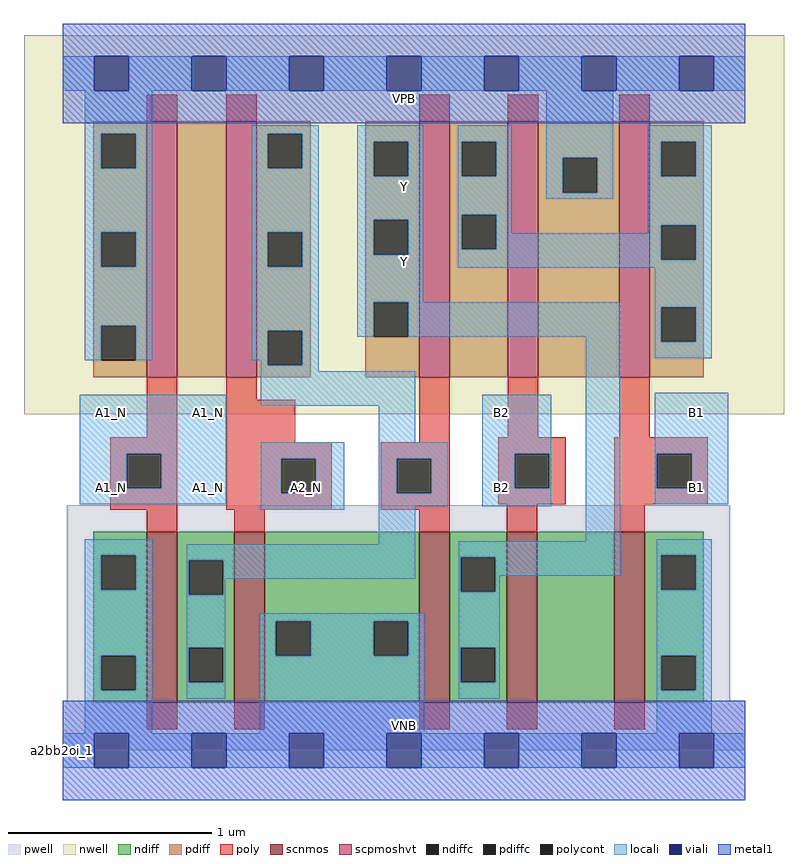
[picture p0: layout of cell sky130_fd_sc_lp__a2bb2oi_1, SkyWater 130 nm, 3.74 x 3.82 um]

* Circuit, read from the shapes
.subckt sky130_fd_sc_lp__a2bb2oi_1 A1_N A2_N B1 B2 VGND VNB VPB VPWR Y
XM1 n1 A1_N VGND VNB sky130_fd_pr__nfet_01v8 w=0.84 l=0.15
XM2 VGND A2_N n1 VNB sky130_fd_pr__nfet_01v8 w=0.84 l=0.15
XM3 Y n1 VGND VNB sky130_fd_pr__nfet_01v8 w=0.84 l=0.15
XM4 n2 B2 Y VNB sky130_fd_pr__nfet_01v8 w=0.84 l=0.15
XM5 VGND B1 n2 VNB sky130_fd_pr__nfet_01v8 w=0.84 l=0.15
XM6 n3 A1_N VPWR VPB sky130_fd_pr__pfet_01v8_hvt w=1.26 l=0.15
XM7 n1 A2_N n3 VPB sky130_fd_pr__pfet_01v8_hvt w=1.26 l=0.15
XM8 n4 n1 Y VPB sky130_fd_pr__pfet_01v8_hvt w=1.26 l=0.15
XM9 VPWR B2 n4 VPB sky130_fd_pr__pfet_01v8_hvt w=1.26 l=0.15
XM10 n4 B1 VPWR VPB sky130_fd_pr__pfet_01v8_hvt w=1.26 l=0.15
.ends

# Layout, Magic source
magic
tech sky130A
magscale 1 2
<< nwell >>
rect -38 331 710 704
<< pwell >>
rect 4 49 657 241
rect 0 0 672 49
<< scnmos >>
rect 83 47 113 215
rect 169 47 199 215
rect 351 47 381 215
rect 437 47 467 215
rect 543 47 573 215
<< scpmoshvt >>
rect 83 367 113 619
rect 161 367 191 619
rect 351 367 381 619
rect 438 367 468 619
rect 548 367 578 619
<< ndiff >>
rect 30 192 83 215
rect 30 158 38 192
rect 72 158 83 192
rect 30 93 83 158
rect 30 59 38 93
rect 72 59 83 93
rect 30 47 83 59
rect 113 187 169 215
rect 113 153 124 187
rect 158 153 169 187
rect 113 101 169 153
rect 113 67 124 101
rect 158 67 169 101
rect 113 47 169 67
rect 199 127 351 215
rect 199 93 210 127
rect 244 93 306 127
rect 340 93 351 127
rect 199 47 351 93
rect 381 190 437 215
rect 381 156 392 190
rect 426 156 437 190
rect 381 101 437 156
rect 381 67 392 101
rect 426 67 437 101
rect 381 47 437 67
rect 467 47 543 215
rect 573 192 631 215
rect 573 158 589 192
rect 623 158 631 192
rect 573 93 631 158
rect 573 59 589 93
rect 623 59 631 93
rect 573 47 631 59
<< pdiff >>
rect 30 607 83 619
rect 30 573 38 607
rect 72 573 83 607
rect 30 510 83 573
rect 30 476 38 510
rect 72 476 83 510
rect 30 418 83 476
rect 30 384 38 418
rect 72 384 83 418
rect 30 367 83 384
rect 113 367 161 619
rect 191 607 244 619
rect 191 573 202 607
rect 236 573 244 607
rect 191 510 244 573
rect 191 476 202 510
rect 236 476 244 510
rect 191 413 244 476
rect 191 379 202 413
rect 236 379 244 413
rect 191 367 244 379
rect 298 599 351 619
rect 298 565 306 599
rect 340 565 351 599
rect 298 522 351 565
rect 298 488 306 522
rect 340 488 351 522
rect 298 441 351 488
rect 298 407 306 441
rect 340 407 351 441
rect 298 367 351 407
rect 381 599 438 619
rect 381 565 393 599
rect 427 565 438 599
rect 381 527 438 565
rect 381 493 393 527
rect 427 493 438 527
rect 381 367 438 493
rect 468 583 548 619
rect 468 549 492 583
rect 526 549 548 583
rect 468 367 548 549
rect 578 599 631 619
rect 578 565 589 599
rect 623 565 631 599
rect 578 517 631 565
rect 578 483 589 517
rect 623 483 631 517
rect 578 436 631 483
rect 578 402 589 436
rect 623 402 631 436
rect 578 367 631 402
<< ndiffc >>
rect 38 158 72 192
rect 38 59 72 93
rect 124 153 158 187
rect 124 67 158 101
rect 210 93 244 127
rect 306 93 340 127
rect 392 156 426 190
rect 392 67 426 101
rect 589 158 623 192
rect 589 59 623 93
<< pdiffc >>
rect 38 573 72 607
rect 38 476 72 510
rect 38 384 72 418
rect 202 573 236 607
rect 202 476 236 510
rect 202 379 236 413
rect 306 565 340 599
rect 306 488 340 522
rect 306 407 340 441
rect 393 565 427 599
rect 393 493 427 527
rect 492 549 526 583
rect 589 565 623 599
rect 589 483 623 517
rect 589 402 623 436
<< poly >>
rect 83 619 113 645
rect 161 619 191 645
rect 351 619 381 645
rect 438 619 468 645
rect 548 619 578 645
rect 83 308 113 367
rect 47 292 113 308
rect 47 258 63 292
rect 97 258 113 292
rect 47 237 113 258
rect 161 345 191 367
rect 161 303 229 345
rect 351 303 381 367
rect 438 308 468 367
rect 548 308 578 367
rect 161 287 265 303
rect 161 253 215 287
rect 249 253 265 287
rect 161 237 265 253
rect 313 287 381 303
rect 313 253 329 287
rect 363 253 381 287
rect 313 237 381 253
rect 429 292 495 308
rect 429 258 445 292
rect 479 258 495 292
rect 429 242 495 258
rect 543 292 635 308
rect 543 258 585 292
rect 619 258 635 292
rect 543 242 635 258
rect 83 215 113 237
rect 169 215 199 237
rect 351 215 381 237
rect 437 215 467 242
rect 543 215 573 242
rect 83 21 113 47
rect 169 21 199 47
rect 351 21 381 47
rect 437 21 467 47
rect 543 21 573 47
<< polycont >>
rect 63 258 97 292
rect 215 253 249 287
rect 329 253 363 287
rect 445 258 479 292
rect 585 258 619 292
<< locali >>
rect 0 649 31 683
rect 65 649 127 683
rect 161 649 223 683
rect 257 649 319 683
rect 353 649 415 683
rect 449 649 511 683
rect 545 649 607 683
rect 641 649 672 683
rect 22 607 88 649
rect 22 573 38 607
rect 72 573 88 607
rect 22 510 88 573
rect 22 476 38 510
rect 72 476 88 510
rect 22 418 88 476
rect 22 384 38 418
rect 72 384 88 418
rect 186 607 252 615
rect 186 573 202 607
rect 236 573 252 607
rect 186 510 252 573
rect 186 476 202 510
rect 236 476 252 510
rect 186 413 252 476
rect 186 384 202 413
rect 195 379 202 384
rect 236 379 252 413
rect 290 599 355 615
rect 290 565 306 599
rect 340 565 355 599
rect 290 522 355 565
rect 290 488 306 522
rect 340 488 355 522
rect 290 441 355 488
rect 389 599 442 615
rect 389 565 393 599
rect 427 565 442 599
rect 389 527 442 565
rect 476 583 542 649
rect 476 549 492 583
rect 526 549 542 583
rect 476 543 542 549
rect 576 599 639 615
rect 576 565 589 599
rect 623 565 639 599
rect 389 493 393 527
rect 427 509 442 527
rect 576 517 639 565
rect 576 509 589 517
rect 427 493 589 509
rect 389 483 589 493
rect 623 483 639 517
rect 389 475 639 483
rect 290 407 306 441
rect 340 407 549 441
rect 195 373 252 379
rect 17 292 161 350
rect 195 339 347 373
rect 311 303 347 339
rect 17 258 63 292
rect 97 258 161 292
rect 17 242 161 258
rect 195 287 277 303
rect 195 253 215 287
rect 249 253 277 287
rect 195 237 277 253
rect 311 287 379 303
rect 311 253 329 287
rect 363 253 379 287
rect 311 240 379 253
rect 413 292 481 350
rect 413 258 445 292
rect 479 258 481 292
rect 413 240 481 258
rect 22 192 88 208
rect 311 203 347 240
rect 515 206 549 407
rect 583 436 639 475
rect 583 402 589 436
rect 623 402 639 436
rect 583 386 639 402
rect 583 292 655 352
rect 583 258 585 292
rect 619 258 655 292
rect 583 242 655 258
rect 22 158 38 192
rect 72 158 88 192
rect 22 93 88 158
rect 22 59 38 93
rect 72 59 88 93
rect 22 17 88 59
rect 122 187 347 203
rect 122 153 124 187
rect 158 169 347 187
rect 390 190 549 206
rect 158 153 160 169
rect 122 101 160 153
rect 390 156 392 190
rect 426 172 549 190
rect 585 192 639 208
rect 426 156 430 172
rect 122 67 124 101
rect 158 67 160 101
rect 122 51 160 67
rect 194 127 356 135
rect 194 93 210 127
rect 244 93 306 127
rect 340 93 356 127
rect 194 17 356 93
rect 390 101 430 156
rect 390 67 392 101
rect 426 67 430 101
rect 390 51 430 67
rect 585 158 589 192
rect 623 158 639 192
rect 585 93 639 158
rect 585 59 589 93
rect 623 59 639 93
rect 585 17 639 59
rect 0 -17 31 17
rect 65 -17 127 17
rect 161 -17 223 17
rect 257 -17 319 17
rect 353 -17 415 17
rect 449 -17 511 17
rect 545 -17 607 17
rect 641 -17 672 17
<< viali >>
rect 31 649 65 683
rect 127 649 161 683
rect 223 649 257 683
rect 319 649 353 683
rect 415 649 449 683
rect 511 649 545 683
rect 607 649 641 683
rect 31 -17 65 17
rect 127 -17 161 17
rect 223 -17 257 17
rect 319 -17 353 17
rect 415 -17 449 17
rect 511 -17 545 17
rect 607 -17 641 17
<< metal1 >>
rect 0 683 672 715
rect 0 649 31 683
rect 65 649 127 683
rect 161 649 223 683
rect 257 649 319 683
rect 353 649 415 683
rect 449 649 511 683
rect 545 649 607 683
rect 641 649 672 683
rect 0 617 672 649
rect 0 17 672 49
rect 0 -17 31 17
rect 65 -17 127 17
rect 161 -17 223 17
rect 257 -17 319 17
rect 353 -17 415 17
rect 449 -17 511 17
rect 545 -17 607 17
rect 641 -17 672 17
rect 0 -49 672 -17
<< labels >>
flabel pwell s 0 0 672 49 0 FreeSans 200 0 0 0 VNB
port 6 nsew ground bidirectional
flabel nwell s 0 617 672 666 0 FreeSans 200 0 0 0 VPB
port 7 nsew power bidirectional
rlabel comment s 0 0 0 0 4 a2bb2oi_1
flabel metal1 s 0 617 672 666 0 FreeSans 340 0 0 0 VPWR
port 8 nsew power bidirectional
flabel metal1 s 0 0 672 49 0 FreeSans 340 0 0 0 VGND
port 5 nsew ground bidirectional
flabel locali s 31 242 65 276 0 FreeSans 340 0 0 0 A1_N
port 1 nsew signal input
flabel locali s 31 316 65 350 0 FreeSans 340 0 0 0 A1_N
port 1 nsew signal input
flabel locali s 127 242 161 276 0 FreeSans 340 0 0 0 A1_N
port 1 nsew signal input
flabel locali s 127 316 161 350 0 FreeSans 340 0 0 0 A1_N
port 1 nsew signal input
flabel locali s 607 242 641 276 0 FreeSans 340 0 0 0 B1
port 3 nsew signal input
flabel locali s 607 316 641 350 0 FreeSans 340 0 0 0 B1
port 3 nsew signal input
flabel locali s 415 242 449 276 0 FreeSans 340 0 0 0 B2
port 4 nsew signal input
flabel locali s 415 316 449 350 0 FreeSans 340 0 0 0 B2
port 4 nsew signal input
flabel locali s 319 464 353 498 0 FreeSans 340 0 0 0 Y
port 9 nsew signal output
flabel locali s 319 538 353 572 0 FreeSans 340 0 0 0 Y
port 9 nsew signal output
flabel locali s 223 242 257 276 0 FreeSans 340 0 0 0 A2_N
port 2 nsew signal input
<< properties >>
string LEFsite unit
string LEFclass CORE
string FIXED_BBOX 0 0 672 666
string GDS_FILE $PDKPATH/libs.ref/sky130_fd_sc_lp/gds/sky130_fd_sc_lp.gds
string LEFsymmetry X Y R90
string GDS_END 3054260
string GDS_START 3047152
<< end >>
